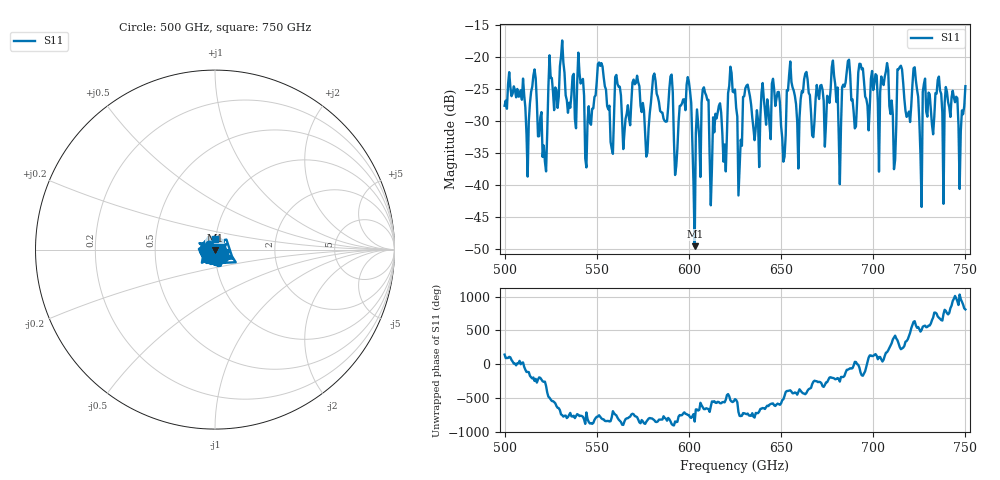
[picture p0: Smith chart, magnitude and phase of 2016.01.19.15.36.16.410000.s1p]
!Created with skrf (http://scikit-rf.org).
# GHz S RI R 50.0
!freq ReS11 ImS11
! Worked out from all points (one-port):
!   401 points, 500 GHz to 750 GHz, reference 50 ohm
!   lowest |S11| = -49.6 dB at 603.1 GHz (marker M1), VSWR 1.01, Z = 49.8 - j0.264 ohm
!   |S11| at or under -10 dB: start of sweep to end of sweep
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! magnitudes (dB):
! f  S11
! 500 GHz  -27.6
! 512.5 GHz  -38.7
! 515.6 GHz  -22.8
! 521.9 GHz  -36.4
! 525 GHz  -23.3
! 531.2 GHz  -17.4
! 545 GHz  -30.1
! 551.9 GHz  -21.4
! 557.5 GHz  -33.3
! 562.5 GHz  -24.6
! 577.5 GHz  -34.9
! 590 GHz  -23.0
! 593.8 GHz  -34.3
! 600 GHz  -23.9
! 603.1 GHz  -49.6
! 608.1 GHz  -24.7
! 612.5 GHz  -37.3
! 625 GHz  -25.1
! 627.5 GHz  -37.1
! 631.2 GHz  -24.5
! 651.2 GHz  -36.4
! 656.2 GHz  -24.8
! 678.1 GHz  -20.5
! 681.2 GHz  -31.9
! 687.5 GHz  -22.8
! 714.4 GHz  -21.6
! 718.8 GHz  -29.0
! 750 GHz  -24.5
